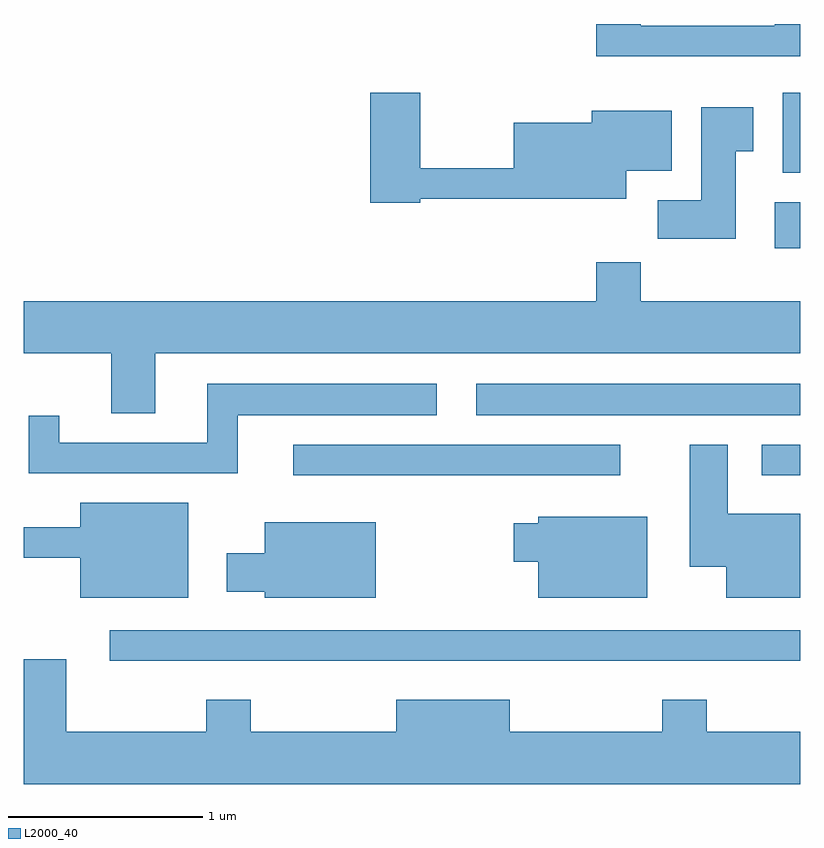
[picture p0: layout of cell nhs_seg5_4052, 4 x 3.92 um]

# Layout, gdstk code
import gdstk
lib = gdstk.Library(unit=1e-6, precision=1e-09)
def R(c, l, rs):  # rectangles x0, y0, x1, y1
    for r in rs: c.add(gdstk.rectangle(r[:2], r[2:], *l))
def P(c, l, *ps):  # polygons
    for p in ps: c.add(gdstk.Polygon(p, *l))
L2000_40 = (2000, 40)

nhs_seg5_4052 = lib.new_cell('nhs_seg5_4052')
R(nhs_seg5_4052, L2000_40, [(306.053,1430.791,309.611,1430.949), (306.998,1431.746,308.683,1431.904), (309.413,1431.746,309.611,1431.904), (307.943,1432.056,309.611,1432.219), (309.481,1432.916,309.611,1433.154), (309.521,1433.306,309.611,1433.719)])
P(nhs_seg5_4052, L2000_40, [(309.611,1434.072),(309.481,1434.072),(309.481,1434.064),(308.789,1434.064),(308.789,1434.072),(308.561,1434.072),(308.561,1433.906),(309.611,1433.906)],
  [(307.654,1433.171),(308.714,1433.171),(308.714,1433.316),(308.949,1433.316),(308.949,1433.624),(308.536,1433.624),(308.536,1433.564),(308.136,1433.564),(308.136,1433.329),(307.654,1433.329),(307.654,1433.719),(307.396,1433.719),(307.396,1433.151),(307.654,1433.151)],
  [(309.279,1433.416),(309.369,1433.416),(309.369,1433.644),(309.101,1433.644),(309.101,1433.164),(308.876,1433.164),(308.876,1432.966),(309.279,1432.966)],
  [(306.289,1432.376),(309.611,1432.376),(309.611,1432.644),(308.789,1432.644),(308.789,1432.844),(308.561,1432.844),(308.561,1432.644),(305.611,1432.644),(305.611,1432.376),(306.061,1432.376),(306.061,1432.066),(306.289,1432.066)],
  [(306.714,1432.056),(307.738,1432.056),(307.738,1432.219),(306.556,1432.219),(306.556,1431.914),(305.794,1431.914),(305.794,1432.053),(305.636,1432.053),(305.636,1431.756),(306.714,1431.756)],
  [(309.611,1431.549),(309.239,1431.549),(309.239,1431.904),(309.041,1431.904),(309.041,1431.276),(309.231,1431.276),(309.231,1431.116),(309.611,1431.116)],
  [(306.459,1431.604),(305.901,1431.604),(305.901,1431.479),(305.611,1431.479),(305.611,1431.321),(305.901,1431.321),(305.901,1431.116),(306.459,1431.116)],
  [(308.824,1431.534),(308.261,1431.534),(308.261,1431.499),(308.136,1431.499),(308.136,1431.301),(308.261,1431.301),(308.261,1431.116),(308.824,1431.116)],
  [(307.424,1431.504),(306.851,1431.504),(306.851,1431.344),(306.656,1431.344),(306.656,1431.146),(306.851,1431.146),(306.851,1431.116),(307.424,1431.116)],
  [(309.611,1430.424),(309.129,1430.424),(309.129,1430.589),(308.901,1430.589),(308.901,1430.424),(308.114,1430.424),(308.114,1430.589),(307.531,1430.589),(307.531,1430.424),(306.779,1430.424),(306.779,1430.589),(306.551,1430.589),(306.551,1430.424),(305.829,1430.424),(305.829,1430.799),(305.611,1430.799),(305.611,1430.156),(309.611,1430.156)])

lib.write_gds('nhs_seg5_4052.gds')
